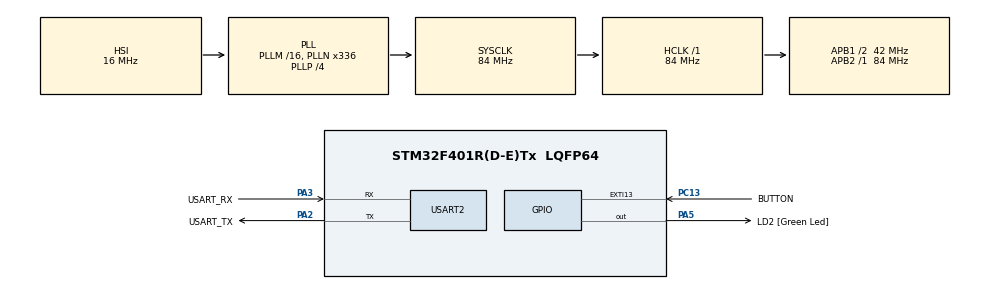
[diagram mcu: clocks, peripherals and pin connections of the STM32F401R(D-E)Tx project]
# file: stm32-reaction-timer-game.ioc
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Mcu.Family=STM32F4
Mcu.Name=STM32F401R(D-E)Tx
Mcu.Package=LQFP64
NVIC.EXTI15_10_IRQn=true\:0\:0\:false\:false\:true\:true\:true\:true
NVIC.PriorityGroup=NVIC_PRIORITYGROUP_4
NVIC.TIM2_IRQn=true\:0\:0\:false\:false\:true\:true\:true\:true
PA13.GPIO_Label=TMS
PA13.Mode=Trace_Asynchronous_SW
PA13.Signal=SYS_JTMS-SWDIO
PA14.GPIO_Label=TCK
PA14.Mode=Trace_Asynchronous_SW
PA14.Signal=SYS_JTCK-SWCLK
PA2.GPIO_Label=USART_TX
PA2.GPIO_Mode=GPIO_MODE_AF_PP
PA2.GPIO_PuPd=GPIO_NOPULL
PA2.GPIO_Speed=GPIO_SPEED_FREQ_LOW
PA2.Mode=Asynchronous
PA2.Signal=USART2_TX
PA3.GPIO_Label=USART_RX
PA3.GPIO_Mode=GPIO_MODE_AF_PP
PA3.GPIO_PuPd=GPIO_NOPULL
PA3.GPIO_Speed=GPIO_SPEED_FREQ_LOW
PA3.Mode=Asynchronous
PA3.Signal=USART2_RX
PA5.GPIO_Label=LD2 [Green Led]
PA5.GPIO_Mode=GPIO_MODE_OUTPUT_PP
PA5.GPIO_PuPd=GPIO_NOPULL
PA5.GPIO_Speed=GPIO_SPEED_FREQ_LOW
PA5.Signal=GPIO_Output
PB3.GPIO_Label=SWO
PB3.Mode=Trace_Asynchronous_SW
PB3.Signal=SYS_JTDO-SWO
PC13-ANTI_TAMP.GPIO_Label=BUTTON
PC13-ANTI_TAMP.Signal=GPXTI13
PC14-OSC32_IN.Mode=LSE-External-Oscillator
PC14-OSC32_IN.Signal=RCC_OSC32_IN
PC15-OSC32_OUT.Mode=LSE-External-Oscillator
PC15-OSC32_OUT.Signal=RCC_OSC32_OUT
PH0\ -\ OSC_IN.Mode=HSE-External-Clock-Source
PH0\ -\ OSC_IN.Signal=RCC_OSC_IN
PH1\ -\ OSC_OUT.Mode=HSE-External-Clock-Source
PH1\ -\ OSC_OUT.Signal=RCC_OSC_OUT
ProjectManager.HeapSize=0x200
ProjectManager.StackSize=0x400
ProjectManager.TargetToolchain=STM32CubeIDE
RCC.48MHZClocksFreq_Value=48000000
RCC.AHBFreq_Value=84000000
RCC.APB1CLKDivider=RCC_HCLK_DIV2
RCC.APB1Freq_Value=42000000
RCC.APB1TimFreq_Value=84000000
RCC.APB2Freq_Value=84000000
RCC.APB2TimFreq_Value=84000000
RCC.CortexFreq_Value=84000000
RCC.HCLKFreq_Value=84000000
RCC.HSE_VALUE=8000000
RCC.HSI_VALUE=16000000
RCC.PLLN=336
RCC.PLLP=RCC_PLLP_DIV4
RCC.PLLQ=7
RCC.SYSCLKFreq_VALUE=84000000
RCC.SYSCLKSource=RCC_SYSCLKSOURCE_PLLCLK
RCC.VCOOutputFreq_Value=336000000
TIM2.Period=9999
TIM2.Prescaler=8399
USART2.VirtualMode=VM_ASYNC
VP_TIM2_VS_ClockSourceINT.Mode=Internal
board=NUCLEO-F401RE

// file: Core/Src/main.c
/* USER CODE BEGIN Header */
/**
  ******************************************************************************
  * @file           : main.c
  * @brief          : Main program body
  ******************************************************************************
  * @attention
  *
  * Copyright (c) 2026 STMicroelectronics.
  * All rights reserved.
  *
  * This software is licensed under terms that can be found in the LICENSE file
  * in the root directory of this software component.
  * If no LICENSE file comes with this software, it is provided AS-IS.
  *
  ******************************************************************************
  */
/* USER CODE END Header */
#include "main.h"

/* USER CODE BEGIN Includes */
#include <string.h>
#include <stdio.h>
/* USER CODE END Includes */

TIM_HandleTypeDef htim2;

UART_HandleTypeDef huart2;

/* USER CODE BEGIN PV */
uint32_t reaction_time = 0;
uint8_t game_started = 0;
uint8_t waiting_for_press = 0;
/* USER CODE END PV */

void SystemClock_Config(void);
static void MX_GPIO_Init(void);
static void MX_TIM2_Init(void);
static void MX_USART2_UART_Init(void);

/* USER CODE BEGIN 0 */
void uart_print(char *msg)
{
    HAL_UART_Transmit(&huart2, (uint8_t*)msg, strlen(msg), HAL_MAX_DELAY);
}
/* USER CODE END 0 */

int main(void)
{

  /* MCU Configuration--------------------------------------------------------*/

  /* Reset of all peripherals, Initializes the Flash interface and the Systick. */
  HAL_Init();

  /* Configure the system clock */
  SystemClock_Config();

  /* Initialize all configured peripherals */
  MX_GPIO_Init();
  MX_TIM2_Init();
  MX_USART2_UART_Init();
  /* USER CODE BEGIN 2 */
  HAL_TIM_Base_Start_IT(&htim2);
  uart_print("Reaction Timer Game Ready\r\n");
  /* USER CODE END 2 */

  /* Infinite loop */
  /* USER CODE BEGIN WHILE */
  while (1)
  {
	  if(game_started == 0)
	  {
	      uart_print("Get Ready...\r\n");

	      HAL_Delay(2000);

	      HAL_GPIO_WritePin(LD2_GPIO_Port, LD2_Pin, GPIO_PIN_SET);
	      uart_print("GO!\r\n");

	      reaction_time = 0;
	      waiting_for_press = 1;
	      game_started = 1;
	  }
    /* USER CODE END WHILE */

  }
}

void SystemClock_Config(void)
{
  RCC_OscInitTypeDef RCC_OscInitStruct = {0};
  RCC_ClkInitTypeDef RCC_ClkInitStruct = {0};

  /** Configure the main internal regulator output voltage
  */
  __HAL_RCC_PWR_CLK_ENABLE();
  __HAL_PWR_VOLTAGESCALING_CONFIG(PWR_REGULATOR_VOLTAGE_SCALE2);

  /** Initializes the RCC Oscillators according to the specified parameters
  * in the RCC_OscInitTypeDef structure.
  */
  RCC_OscInitStruct.OscillatorType = RCC_OSCILLATORTYPE_HSI;
  RCC_OscInitStruct.HSIState = RCC_HSI_ON;
  RCC_OscInitStruct.HSICalibrationValue = RCC_HSICALIBRATION_DEFAULT;
  RCC_OscInitStruct.PLL.PLLState = RCC_PLL_ON;
  RCC_OscInitStruct.PLL.PLLSource = RCC_PLLSOURCE_HSI;
  RCC_OscInitStruct.PLL.PLLM = 16;
  RCC_OscInitStruct.PLL.PLLN = 336;
  RCC_OscInitStruct.PLL.PLLP = RCC_PLLP_DIV4;
  RCC_OscInitStruct.PLL.PLLQ = 7;
  if (HAL_RCC_OscConfig(&RCC_OscInitStruct) != HAL_OK)
  {
    Error_Handler();
  }

  /** Initializes the CPU, AHB and APB buses clocks
  */
  RCC_ClkInitStruct.ClockType = RCC_CLOCKTYPE_HCLK|RCC_CLOCKTYPE_SYSCLK
                              |RCC_CLOCKTYPE_PCLK1|RCC_CLOCKTYPE_PCLK2;
  RCC_ClkInitStruct.SYSCLKSource = RCC_SYSCLKSOURCE_PLLCLK;
  RCC_ClkInitStruct.AHBCLKDivider = RCC_SYSCLK_DIV1;
  RCC_ClkInitStruct.APB1CLKDivider = RCC_HCLK_DIV2;
  RCC_ClkInitStruct.APB2CLKDivider = RCC_HCLK_DIV1;

  if (HAL_RCC_ClockConfig(&RCC_ClkInitStruct, FLASH_LATENCY_2) != HAL_OK)
  {
    Error_Handler();
  }
}

static void MX_TIM2_Init(void)
{

  TIM_ClockConfigTypeDef sClockSourceConfig = {0};
  TIM_MasterConfigTypeDef sMasterConfig = {0};

  htim2.Instance = TIM2;
  htim2.Init.Prescaler = 8399;
  htim2.Init.CounterMode = TIM_COUNTERMODE_UP;
  htim2.Init.Period = 9999;
  htim2.Init.ClockDivision = TIM_CLOCKDIVISION_DIV1;
  htim2.Init.AutoReloadPreload = TIM_AUTORELOAD_PRELOAD_DISABLE;
  if (HAL_TIM_Base_Init(&htim2) != HAL_OK)
  {
    Error_Handler();
  }
  sClockSourceConfig.ClockSource = TIM_CLOCKSOURCE_INTERNAL;
  if (HAL_TIM_ConfigClockSource(&htim2, &sClockSourceConfig) != HAL_OK)
  {
    Error_Handler();
  }
  sMasterConfig.MasterOutputTrigger = TIM_TRGO_RESET;
  sMasterConfig.MasterSlaveMode = TIM_MASTERSLAVEMODE_DISABLE;
  if (HAL_TIMEx_MasterConfigSynchronization(&htim2, &sMasterConfig) != HAL_OK)
  {
    Error_Handler();
  }

}

static void MX_USART2_UART_Init(void)
{

  huart2.Instance = USART2;
  huart2.Init.BaudRate = 115200;
  huart2.Init.WordLength = UART_WORDLENGTH_8B;
  huart2.Init.StopBits = UART_STOPBITS_1;
  huart2.Init.Parity = UART_PARITY_NONE;
  huart2.Init.Mode = UART_MODE_TX_RX;
  huart2.Init.HwFlowCtl = UART_HWCONTROL_NONE;
  huart2.Init.OverSampling = UART_OVERSAMPLING_16;
  if (HAL_UART_Init(&huart2) != HAL_OK)
  {
    Error_Handler();
  }

}

static void MX_GPIO_Init(void)
{
  GPIO_InitTypeDef GPIO_InitStruct = {0};

  /* GPIO Ports Clock Enable */
  __HAL_RCC_GPIOC_CLK_ENABLE();
  __HAL_RCC_GPIOH_CLK_ENABLE();
  __HAL_RCC_GPIOA_CLK_ENABLE();
  __HAL_RCC_GPIOB_CLK_ENABLE();

  /*Configure GPIO pin Output Level */
  HAL_GPIO_WritePin(LD2_GPIO_Port, LD2_Pin, GPIO_PIN_RESET);

  /*Configure GPIO pin : BUTTON_Pin */
  GPIO_InitStruct.Pin = BUTTON_Pin;
  GPIO_InitStruct.Mode = GPIO_MODE_IT_RISING;
  GPIO_InitStruct.Pull = GPIO_NOPULL;
  HAL_GPIO_Init(BUTTON_GPIO_Port, &GPIO_InitStruct);

  /*Configure GPIO pin : LD2_Pin */
  GPIO_InitStruct.Pin = LD2_Pin;
  GPIO_InitStruct.Mode = GPIO_MODE_OUTPUT_PP;
  GPIO_InitStruct.Pull = GPIO_NOPULL;
  GPIO_InitStruct.Speed = GPIO_SPEED_FREQ_LOW;
  HAL_GPIO_Init(LD2_GPIO_Port, &GPIO_InitStruct);

  /* EXTI interrupt init*/
  HAL_NVIC_SetPriority(EXTI15_10_IRQn, 0, 0);
  HAL_NVIC_EnableIRQ(EXTI15_10_IRQn);

}

/* USER CODE BEGIN 4 */
void HAL_TIM_PeriodElapsedCallback(TIM_HandleTypeDef *htim)
{
    if(htim->Instance == TIM2)
    {
        if(waiting_for_press)
        {
            reaction_time++;
        }
    }
}
void HAL_GPIO_EXTI_Callback(uint16_t GPIO_Pin)
{
	if(GPIO_Pin == BUTTON_Pin && waiting_for_press)
	{
	    char msg[50];

	    waiting_for_press = 0;
	    HAL_GPIO_WritePin(LD2_GPIO_Port, LD2_Pin, GPIO_PIN_RESET);

	    sprintf(msg, "Reaction Time: %lu ms\r\n", reaction_time * 1000);
	    uart_print(msg);

	    game_started = 0;
	}
}
/* USER CODE END 4 */

void Error_Handler(void)
{
  __disable_irq();
  while (1)
  {
  }
}
